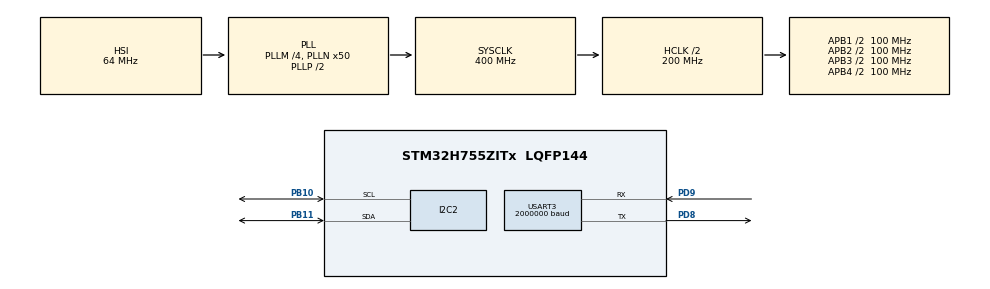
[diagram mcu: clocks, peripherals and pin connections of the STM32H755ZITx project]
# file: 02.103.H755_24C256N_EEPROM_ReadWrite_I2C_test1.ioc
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CortexM4.IPs=FATFS_M4\:I,FREERTOS_M4\:I,IWDG2\:I,RCC,WWDG2\:I,DMA,BDMA,MDMA,NVIC2\:I,ETH,DEBUG,PDM2PCM_M4\:I,PWR,RESMGR_UTILITY,SYS_M4\:I,USB_DEVICE_M4\:I,USB_HOST_M4\:I,CORTEX_M4\:I,GPIO,OPENAMP_M4\:I,VREFBUF,NUCLEO-H755ZI-Q
CortexM7.IPs=FATFS_M7\:I,FREERTOS_M7\:I,IWDG1\:I,RCC\:I,WWDG1\:I,DMA\:I,BDMA\:I,MDMA\:I,NVIC1\:I,ETH\:I,USB_OTG_FS\:I,SYS\:I,CORTEX_M7\:I,DEBUG\:I,PDM2PCM_M7\:I,PWR\:I,RESMGR_UTILITY\:I,USB_DEVICE_M7\:I,USB_HOST_M7\:I,GPIO\:I,OPENAMP_M7\:I,VREFBUF\:I,NUCLEO-H755ZI-Q\:I,I2C2\:I,USART3\:I
Dma.Request0=USART3_TX
Dma.Request1=USART3_RX
Dma.USART3_RX.1.Direction=DMA_PERIPH_TO_MEMORY
Dma.USART3_RX.1.EventEnable=DISABLE
Dma.USART3_RX.1.FIFOMode=DMA_FIFOMODE_DISABLE
Dma.USART3_RX.1.Instance=DMA1_Stream1
Dma.USART3_RX.1.MemDataAlignment=DMA_MDATAALIGN_BYTE
Dma.USART3_RX.1.MemInc=DMA_MINC_ENABLE
Dma.USART3_RX.1.Mode=DMA_CIRCULAR
Dma.USART3_RX.1.PeriphDataAlignment=DMA_PDATAALIGN_BYTE
Dma.USART3_RX.1.PeriphInc=DMA_PINC_DISABLE
Dma.USART3_RX.1.Polarity=HAL_DMAMUX_REQ_GEN_RISING
Dma.USART3_RX.1.Priority=DMA_PRIORITY_LOW
Dma.USART3_RX.1.RequestNumber=1
Dma.USART3_RX.1.SignalID=NONE
Dma.USART3_RX.1.SyncEnable=DISABLE
Dma.USART3_RX.1.SyncPolarity=HAL_DMAMUX_SYNC_NO_EVENT
Dma.USART3_RX.1.SyncRequestNumber=1
Dma.USART3_RX.1.SyncSignalID=NONE
Dma.USART3_TX.0.Direction=DMA_MEMORY_TO_PERIPH
Dma.USART3_TX.0.EventEnable=DISABLE
Dma.USART3_TX.0.FIFOMode=DMA_FIFOMODE_DISABLE
Dma.USART3_TX.0.Instance=DMA1_Stream0
Dma.USART3_TX.0.MemDataAlignment=DMA_MDATAALIGN_BYTE
Dma.USART3_TX.0.MemInc=DMA_MINC_ENABLE
Dma.USART3_TX.0.Mode=DMA_NORMAL
Dma.USART3_TX.0.PeriphDataAlignment=DMA_PDATAALIGN_BYTE
Dma.USART3_TX.0.PeriphInc=DMA_PINC_DISABLE
Dma.USART3_TX.0.Polarity=HAL_DMAMUX_REQ_GEN_RISING
Dma.USART3_TX.0.Priority=DMA_PRIORITY_LOW
Dma.USART3_TX.0.RequestNumber=1
Dma.USART3_TX.0.SignalID=NONE
Dma.USART3_TX.0.SyncEnable=DISABLE
Dma.USART3_TX.0.SyncPolarity=HAL_DMAMUX_SYNC_NO_EVENT
Dma.USART3_TX.0.SyncRequestNumber=1
Dma.USART3_TX.0.SyncSignalID=NONE
I2C2.Timing=0x10C0ECFF
Mcu.Family=STM32H7
Mcu.Name=STM32H755ZITx
Mcu.Package=LQFP144
NVIC1.DMA1_Stream0_IRQn=true\:0\:0\:false\:false\:true\:false\:true\:true
NVIC1.DMA1_Stream1_IRQn=true\:0\:0\:false\:false\:true\:false\:true\:true
NVIC1.PriorityGroup=NVIC_PRIORITYGROUP_4
NVIC1.USART3_IRQn=true\:0\:0\:false\:false\:true\:true\:true\:true
NVIC2.PriorityGroup=NVIC_PRIORITYGROUP_4
PB0.TagName=LD1
PB10.Mode=I2C
PB10.PinAttribute=CortexM7
PB10.Signal=I2C2_SCL
PB11.Mode=I2C
PB11.PinAttribute=CortexM7
PB11.Signal=I2C2_SDA
PB14.TagName=LD3
PC13.TagName=BUTTON
PD8.Mode=Asynchronous
PD8.PinAttribute=CortexM7
PD8.Signal=USART3_TX
PD8.TagName=VCP_RX
PD9.Mode=Asynchronous
PD9.PinAttribute=CortexM7
PD9.Signal=USART3_RX
PD9.TagName=VCP_TX
PE1.TagName=LD2
ProjectManager.HeapSize=M4-0x200,M7-0x200
ProjectManager.StackSize=M4-0x400,M7-0x400
ProjectManager.TargetToolchain=STM32CubeIDE
RCC.ADCFreq_Value=129000000
RCC.APB1Freq_Value=100000000
RCC.APB2Freq_Value=100000000
RCC.APB3Freq_Value=100000000
RCC.APB4Freq_Value=100000000
RCC.CortexFreq_Value=400000000
RCC.D1PPRE=RCC_APB3_DIV2
RCC.D2PPRE1=RCC_APB1_DIV2
RCC.D2PPRE2=RCC_APB2_DIV2
RCC.D3PPRE=RCC_APB4_DIV2
RCC.DIVM1=4
RCC.DIVN1=50
RCC.DIVQ1=5
RCC.HCLKFreq_Value=200000000
RCC.HPRE=RCC_HCLK_DIV2
RCC.PLL2FRACN=0
RCC.PLL3FRACN=0
RCC.PLLFRACN=0
RCC.SYSCLKFreq_VALUE=400000000
RCC.SYSCLKSource=RCC_SYSCLKSOURCE_PLLCLK
RCC.SupplySource=PWR_DIRECT_SMPS_SUPPLY
RCC.USBFreq_Value=160000000
USART3.BaudRate=2000000
USART3.VirtualMode-Asynchronous=VM_ASYNC
VP_SYS_M4_VS_Systick.Mode=SysTick
board=NUCLEO-H755ZI-Q

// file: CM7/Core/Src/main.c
/* USER CODE BEGIN Header */
/**
  ******************************************************************************
  * @file           : main.c
  * @brief          : Main program body
  ******************************************************************************
  * @attention
  *
  * Copyright (c) 2025 STMicroelectronics.
  * All rights reserved.
  *
  * This software is licensed under terms that can be found in the LICENSE file
  * in the root directory of this software component.
  * If no LICENSE file comes with this software, it is provided AS-IS.
  *
  ******************************************************************************
  */
/* USER CODE END Header */
#include "main.h"

/* USER CODE BEGIN Includes */
#include <stdio.h>
#include <string.h>
#include <stddef.h>
#include <stdarg.h>
#include <stdbool.h>
#include <stdlib.h>

#include "24C256N_EEPROM.h"

/* USER CODE END Includes */

/* USER CODE BEGIN PD */

/* DUAL_CORE_BOOT_SYNC_SEQUENCE: Define for dual core boot synchronization    */
/*                             demonstration code based on hardware semaphore */
/* This define is present in both CM7/CM4 projects                            */
/* To comment when developping/debugging on a single core                     */
#define DUAL_CORE_BOOT_SYNC_SEQUENCE

#if defined(DUAL_CORE_BOOT_SYNC_SEQUENCE)
#ifndef HSEM_ID_0
#define HSEM_ID_0 (0U) /* HW semaphore 0*/
#endif
#endif /* DUAL_CORE_BOOT_SYNC_SEQUENCE */

/* USER CODE END PD */

/* USER CODE BEGIN PM */
uint8_t txData[] = "24C256N EEPROM!";
uint8_t rxData[20];
/* USER CODE END PM */

I2C_HandleTypeDef hi2c2;

UART_HandleTypeDef huart3;
DMA_HandleTypeDef hdma_usart3_tx;
DMA_HandleTypeDef hdma_usart3_rx;

/* USER CODE BEGIN PV */
uint8_t dma_rx_buffer[64];
uint8_t dma_tx_buffer[64];
uint16_t old_pos = 0;

static volatile bool uart_tx_busy = false;
static char uartBuffer[250];
/* USER CODE END PV */

void SystemClock_Config(void);
static void MX_GPIO_Init(void);
static void MX_DMA_Init(void);
static void MX_I2C2_Init(void);
static void MX_USART3_UART_Init(void);

/* USER CODE BEGIN 0 */
void DebugPrint(const char *format, ...)
{
	// Wait for previous transmission to complete
	    while (uart_tx_busy);

	    va_list args;
	    va_start(args, format);
	    vsnprintf(uartBuffer, sizeof(uartBuffer), format, args);
	    va_end(args);

	    uart_tx_busy = true;

	    HAL_UART_Transmit_DMA(&huart3, (uint8_t *)uartBuffer, strlen(uartBuffer));
}

void check_dma_data(void)
{
    static uint32_t total_pos = 0;  // new: global linear counter

    uint16_t pos = sizeof(dma_rx_buffer) - __HAL_DMA_GET_COUNTER(&hdma_usart3_rx);

    if (pos != old_pos)
    {
        if (pos > old_pos)
        {
            // Normal forward move (no wrap)
            for (uint16_t i = old_pos; i < pos; i++)
            {
                DebugPrint("\r\nGot: '%c' (0x%02X) at pos %lu\r\n\r\n",
                           dma_rx_buffer[i], dma_rx_buffer[i], total_pos++);
            }
        }
        else
        {
            // Wrapped around — handle end part and restart from 0
            for (uint16_t i = old_pos; i < sizeof(dma_rx_buffer); i++)
            {
                DebugPrint("\r\nGot: '%c' (0x%02X) at pos %lu\r\n\r\n",
                           dma_rx_buffer[i], dma_rx_buffer[i], total_pos++);
            }
            for (uint16_t i = 0; i < pos; i++)
            {
                DebugPrint("\r\nGot: '%c' (0x%02X) at pos %lu\r\n\r\n",
                           dma_rx_buffer[i], dma_rx_buffer[i], total_pos++);
            }
        }

        old_pos = pos;
    }
}

/* USER CODE END 0 */

int main(void)
{

/* USER CODE BEGIN Boot_Mode_Sequence_0 */
#if defined(DUAL_CORE_BOOT_SYNC_SEQUENCE)
  int32_t timeout;
#endif /* DUAL_CORE_BOOT_SYNC_SEQUENCE */
/* USER CODE END Boot_Mode_Sequence_0 */

/* USER CODE BEGIN Boot_Mode_Sequence_1 */
#if defined(DUAL_CORE_BOOT_SYNC_SEQUENCE)
  /* Wait until CPU2 boots and enters in stop mode or timeout*/
  timeout = 0xFFFF;
  while((__HAL_RCC_GET_FLAG(RCC_FLAG_D2CKRDY) != RESET) && (timeout-- > 0));
  if ( timeout < 0 )
  {
  Error_Handler();
  }
#endif /* DUAL_CORE_BOOT_SYNC_SEQUENCE */
/* USER CODE END Boot_Mode_Sequence_1 */
  /* MCU Configuration--------------------------------------------------------*/

  /* Reset of all peripherals, Initializes the Flash interface and the Systick. */
  HAL_Init();

  /* Configure the system clock */
  SystemClock_Config();
/* USER CODE BEGIN Boot_Mode_Sequence_2 */
#if defined(DUAL_CORE_BOOT_SYNC_SEQUENCE)
/* When system initialization is finished, Cortex-M7 will release Cortex-M4 by means of
HSEM notification */
/*HW semaphore Clock enable*/
__HAL_RCC_HSEM_CLK_ENABLE();
/*Take HSEM */
HAL_HSEM_FastTake(HSEM_ID_0);
/*Release HSEM in order to notify the CPU2(CM4)*/
HAL_HSEM_Release(HSEM_ID_0,0);
/* wait until CPU2 wakes up from stop mode */
timeout = 0xFFFF;
while((__HAL_RCC_GET_FLAG(RCC_FLAG_D2CKRDY) == RESET) && (timeout-- > 0));
if ( timeout < 0 )
{
Error_Handler();
}
#endif /* DUAL_CORE_BOOT_SYNC_SEQUENCE */
/* USER CODE END Boot_Mode_Sequence_2 */

  /* Initialize all configured peripherals */
  MX_GPIO_Init();
  MX_DMA_Init();
  MX_I2C2_Init();
  MX_USART3_UART_Init();
  /* USER CODE BEGIN 2 */
  DebugPrint("\r\n=== UART DMA RX Circular + TX Normal ===\r\n");

  HAL_UART_Receive_DMA(&huart3, dma_rx_buffer, sizeof(dma_rx_buffer));

  /* Write string to EEPROM */
  EEPROM_WriteBuffer(0x0000, txData, sizeof(txData));

  HAL_Delay(10);

  /* Read back */
  EEPROM_ReadBuffer(0x0000, rxData, sizeof(txData));

  DebugPrint("EEPROM Read: ");
  for (uint32_t i = 0; i < sizeof(rxData); i++)
  {
      DebugPrint("%c", rxData[i]);
  }
  DebugPrint("\r\n");
  /* USER CODE END 2 */

  /* Infinite loop */
  while (1)
  {

    /* USER CODE BEGIN 3 */

	  check_dma_data();
  }
  /* USER CODE END 3 */
}

void SystemClock_Config(void)
{
  RCC_OscInitTypeDef RCC_OscInitStruct = {0};
  RCC_ClkInitTypeDef RCC_ClkInitStruct = {0};

  /** Supply configuration update enable
  */
  HAL_PWREx_ConfigSupply(PWR_DIRECT_SMPS_SUPPLY);

  /** Configure the main internal regulator output voltage
  */
  __HAL_PWR_VOLTAGESCALING_CONFIG(PWR_REGULATOR_VOLTAGE_SCALE1);

  while(!__HAL_PWR_GET_FLAG(PWR_FLAG_VOSRDY)) {}

  /** Initializes the RCC Oscillators according to the specified parameters
  * in the RCC_OscInitTypeDef structure.
  */
  RCC_OscInitStruct.OscillatorType = RCC_OSCILLATORTYPE_HSI;
  RCC_OscInitStruct.HSIState = RCC_HSI_DIV1;
  RCC_OscInitStruct.HSICalibrationValue = RCC_HSICALIBRATION_DEFAULT;
  RCC_OscInitStruct.PLL.PLLState = RCC_PLL_ON;
  RCC_OscInitStruct.PLL.PLLSource = RCC_PLLSOURCE_HSI;
  RCC_OscInitStruct.PLL.PLLM = 4;
  RCC_OscInitStruct.PLL.PLLN = 50;
  RCC_OscInitStruct.PLL.PLLP = 2;
  RCC_OscInitStruct.PLL.PLLQ = 5;
  RCC_OscInitStruct.PLL.PLLR = 2;
  RCC_OscInitStruct.PLL.PLLRGE = RCC_PLL1VCIRANGE_3;
  RCC_OscInitStruct.PLL.PLLVCOSEL = RCC_PLL1VCOWIDE;
  RCC_OscInitStruct.PLL.PLLFRACN = 0;
  if (HAL_RCC_OscConfig(&RCC_OscInitStruct) != HAL_OK)
  {
    Error_Handler();
  }

  /** Initializes the CPU, AHB and APB buses clocks
  */
  RCC_ClkInitStruct.ClockType = RCC_CLOCKTYPE_HCLK|RCC_CLOCKTYPE_SYSCLK
                              |RCC_CLOCKTYPE_PCLK1|RCC_CLOCKTYPE_PCLK2
                              |RCC_CLOCKTYPE_D3PCLK1|RCC_CLOCKTYPE_D1PCLK1;
  RCC_ClkInitStruct.SYSCLKSource = RCC_SYSCLKSOURCE_PLLCLK;
  RCC_ClkInitStruct.SYSCLKDivider = RCC_SYSCLK_DIV1;
  RCC_ClkInitStruct.AHBCLKDivider = RCC_HCLK_DIV2;
  RCC_ClkInitStruct.APB3CLKDivider = RCC_APB3_DIV2;
  RCC_ClkInitStruct.APB1CLKDivider = RCC_APB1_DIV2;
  RCC_ClkInitStruct.APB2CLKDivider = RCC_APB2_DIV2;
  RCC_ClkInitStruct.APB4CLKDivider = RCC_APB4_DIV2;

  if (HAL_RCC_ClockConfig(&RCC_ClkInitStruct, FLASH_LATENCY_2) != HAL_OK)
  {
    Error_Handler();
  }
}

static void MX_I2C2_Init(void)
{

  hi2c2.Instance = I2C2;
  hi2c2.Init.Timing = 0x10C0ECFF;
  hi2c2.Init.OwnAddress1 = 0;
  hi2c2.Init.AddressingMode = I2C_ADDRESSINGMODE_7BIT;
  hi2c2.Init.DualAddressMode = I2C_DUALADDRESS_DISABLE;
  hi2c2.Init.OwnAddress2 = 0;
  hi2c2.Init.OwnAddress2Masks = I2C_OA2_NOMASK;
  hi2c2.Init.GeneralCallMode = I2C_GENERALCALL_DISABLE;
  hi2c2.Init.NoStretchMode = I2C_NOSTRETCH_DISABLE;
  if (HAL_I2C_Init(&hi2c2) != HAL_OK)
  {
    Error_Handler();
  }

  /** Configure Analogue filter
  */
  if (HAL_I2CEx_ConfigAnalogFilter(&hi2c2, I2C_ANALOGFILTER_ENABLE) != HAL_OK)
  {
    Error_Handler();
  }

  /** Configure Digital filter
  */
  if (HAL_I2CEx_ConfigDigitalFilter(&hi2c2, 0) != HAL_OK)
  {
    Error_Handler();
  }

}

static void MX_USART3_UART_Init(void)
{

  huart3.Instance = USART3;
  huart3.Init.BaudRate = 2000000;
  huart3.Init.WordLength = UART_WORDLENGTH_8B;
  huart3.Init.StopBits = UART_STOPBITS_1;
  huart3.Init.Parity = UART_PARITY_NONE;
  huart3.Init.Mode = UART_MODE_TX_RX;
  huart3.Init.HwFlowCtl = UART_HWCONTROL_NONE;
  huart3.Init.OverSampling = UART_OVERSAMPLING_16;
  huart3.Init.OneBitSampling = UART_ONE_BIT_SAMPLE_DISABLE;
  huart3.Init.ClockPrescaler = UART_PRESCALER_DIV1;
  huart3.AdvancedInit.AdvFeatureInit = UART_ADVFEATURE_NO_INIT;
  if (HAL_UART_Init(&huart3) != HAL_OK)
  {
    Error_Handler();
  }
  if (HAL_UARTEx_SetTxFifoThreshold(&huart3, UART_TXFIFO_THRESHOLD_1_8) != HAL_OK)
  {
    Error_Handler();
  }
  if (HAL_UARTEx_SetRxFifoThreshold(&huart3, UART_RXFIFO_THRESHOLD_1_8) != HAL_OK)
  {
    Error_Handler();
  }
  if (HAL_UARTEx_DisableFifoMode(&huart3) != HAL_OK)
  {
    Error_Handler();
  }

}

static void MX_DMA_Init(void)
{

  /* DMA controller clock enable */
  __HAL_RCC_DMA1_CLK_ENABLE();

  /* DMA interrupt init */
  /* DMA1_Stream0_IRQn interrupt configuration */
  HAL_NVIC_SetPriority(DMA1_Stream0_IRQn, 0, 0);
  HAL_NVIC_EnableIRQ(DMA1_Stream0_IRQn);
  /* DMA1_Stream1_IRQn interrupt configuration */
  HAL_NVIC_SetPriority(DMA1_Stream1_IRQn, 0, 0);
  HAL_NVIC_EnableIRQ(DMA1_Stream1_IRQn);

}

static void MX_GPIO_Init(void)
{

  /* GPIO Ports Clock Enable */
  __HAL_RCC_GPIOB_CLK_ENABLE();
  __HAL_RCC_GPIOD_CLK_ENABLE();

}

/* USER CODE BEGIN 4 */
void HAL_UART_TxCpltCallback(UART_HandleTypeDef *huart)
{
    if (huart->Instance == USART3)
    {
        uart_tx_busy = false;  // Transmission complete
    }
}
/* USER CODE END 4 */

void Error_Handler(void)
{
  __disable_irq();
  while (1)
  {
  }
}
